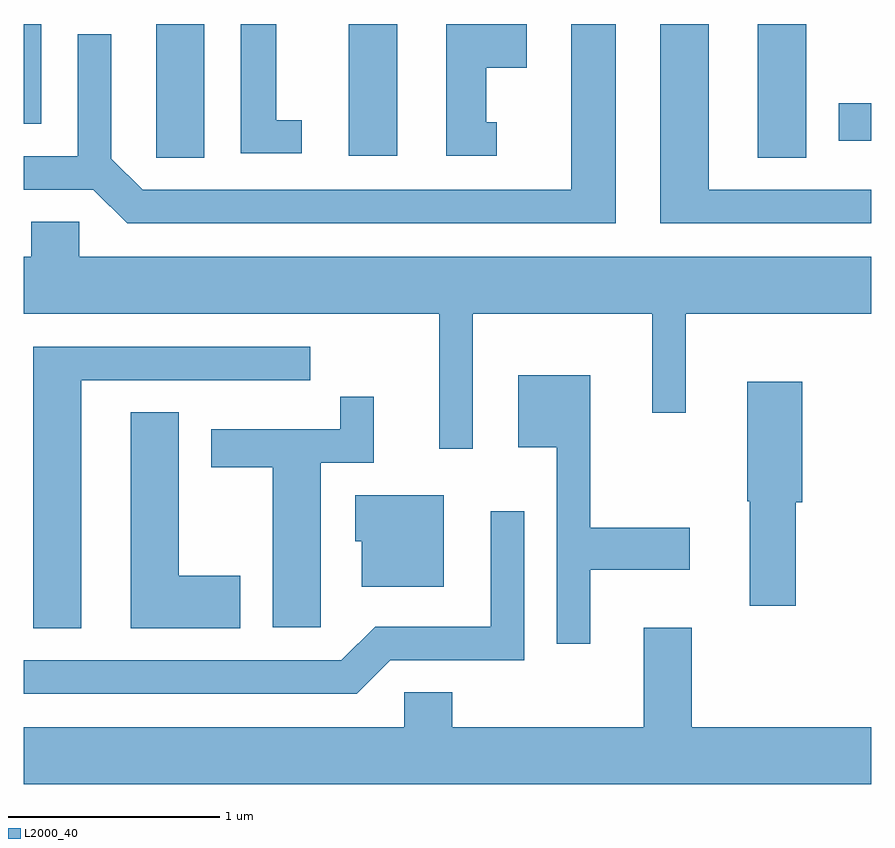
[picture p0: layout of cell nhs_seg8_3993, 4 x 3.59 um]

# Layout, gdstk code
import gdstk
lib = gdstk.Library(unit=1e-6, precision=1e-09)
def R(c, l, rs):  # rectangles x0, y0, x1, y1
    for r in rs: c.add(gdstk.rectangle(r[:2], r[2:], *l))
def P(c, l, *ps):  # polygons
    for p in ps: c.add(gdstk.Polygon(p, *l))
L2000_40 = (2000, 40)

nhs_seg8_3993 = lib.new_cell('nhs_seg8_3993')
R(nhs_seg8_3993, L2000_40, [(304.236,1943.711,304.464,1944.342), (307.076,1943.711,307.304,1944.342), (305.146,1943.721,305.374,1944.342), (307.456,1943.791,307.611,1943.969), (303.611,1943.871,303.694,1944.342)])
P(nhs_seg8_3993, L2000_40, [(307.611,1943.559),(306.844,1943.559),(306.844,1944.342),(306.616,1944.342),(306.616,1943.401),(307.611,1943.401)],
  [(305.843,1943.879),(305.794,1943.879),(305.794,1944.136),(305.984,1944.136),(305.984,1944.342),(305.606,1944.342),(305.606,1943.721),(305.843,1943.721)],
  [(304.923,1943.889),(304.804,1943.889),(304.804,1944.342),(304.636,1944.342),(304.636,1943.731),(304.923,1943.731)],
  [(306.404,1944.342),(306.196,1944.342),(306.196,1943.559),(304.172,1943.559),(304.024,1943.707),(304.024,1944.293),(303.866,1944.293),(303.866,1943.719),(303.611,1943.719),(303.611,1943.561),(303.939,1943.561),(304.099,1943.401),(306.404,1943.401)],
  [(305.729,1942.976),(306.576,1942.976),(306.576,1942.508),(306.734,1942.508),(306.734,1942.976),(307.611,1942.976),(307.611,1943.244),(303.874,1943.244),(303.874,1943.409),(303.646,1943.409),(303.646,1943.244),(303.611,1943.244),(303.611,1942.976),(305.571,1942.976),(305.571,1942.338),(305.729,1942.338)],
  [(303.884,1942.661),(304.963,1942.661),(304.963,1942.819),(303.656,1942.819),(303.656,1941.491),(303.884,1941.491)],
  [(306.284,1941.766),(306.754,1941.766),(306.754,1941.964),(306.284,1941.964),(306.284,1942.684),(305.946,1942.684),(305.946,1942.346),(306.126,1942.346),(306.126,1941.418),(306.284,1941.418)],
  [(307.254,1942.086),(307.284,1942.086),(307.284,1942.654),(307.026,1942.654),(307.026,1942.09),(307.036,1942.09),(307.036,1941.596),(307.254,1941.596)],
  [(305.014,1942.271),(305.264,1942.271),(305.264,1942.583),(305.106,1942.583),(305.106,1942.429),(304.496,1942.429),(304.496,1942.251),(304.786,1942.251),(304.786,1941.496),(305.014,1941.496)],
  [(304.634,1941.739),(304.344,1941.739),(304.344,1942.509),(304.116,1942.509),(304.116,1941.491),(304.634,1941.491)],
  [(305.594,1942.119),(305.176,1942.119),(305.176,1941.901),(305.206,1941.901),(305.206,1941.686),(305.594,1941.686)],
  [(305.342,1941.341),(305.974,1941.341),(305.974,1942.043),(305.816,1942.043),(305.816,1941.499),(305.269,1941.499),(305.109,1941.339),(303.611,1941.339),(303.611,1941.181),(305.182,1941.181)],
  [(307.611,1941.024),(306.764,1941.024),(306.764,1941.494),(306.536,1941.494),(306.536,1941.024),(305.634,1941.024),(305.634,1941.189),(305.406,1941.189),(305.406,1941.024),(303.611,1941.024),(303.611,1940.756),(307.611,1940.756)])

lib.write_gds('nhs_seg8_3993.gds')
